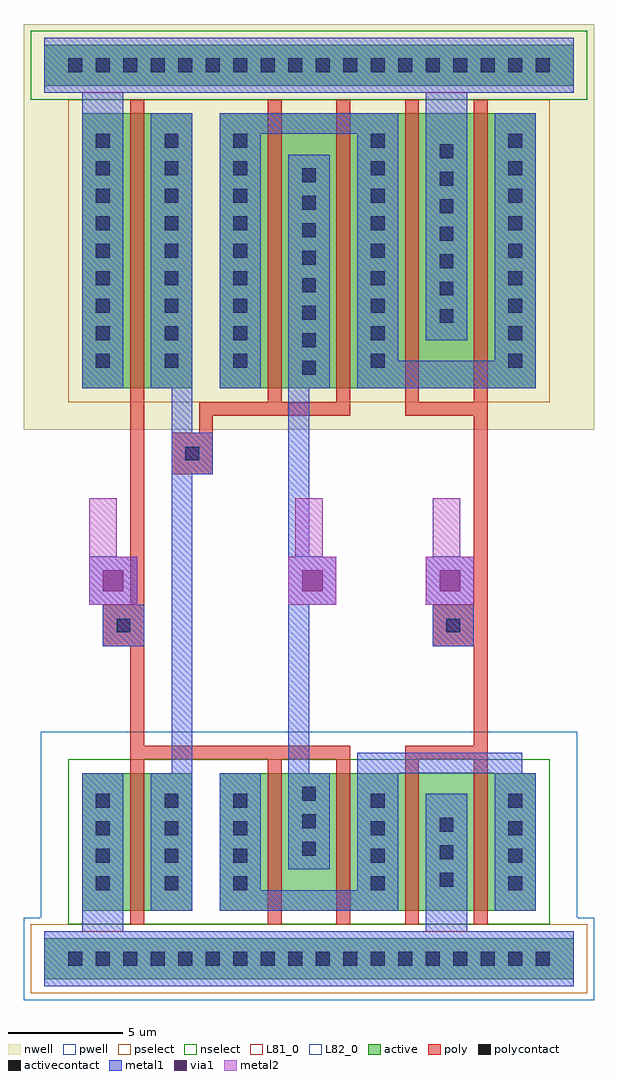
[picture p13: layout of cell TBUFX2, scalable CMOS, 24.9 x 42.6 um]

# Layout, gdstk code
import gdstk
lib = gdstk.Library(unit=1e-6, precision=1e-09)
def R(c, l, rs):  # rectangles x0, y0, x1, y1
    for r in rs: c.add(gdstk.rectangle(r[:2], r[2:], *l))
def A(c, l, x, y, w, h, nx, ny, dx, dy):  # array of equal rectangles
    R(c, l, [(x+i*dx, y+j*dy, x+i*dx+w, y+j*dy+h) for i in range(nx) for j in range(ny)])
pwell = (41, 0)
nwell = (42, 0)
active = (43, 0)
pselect = (44, 0)
nselect = (45, 0)
poly = (46, 0)
polycontact = (47, 0)
activecontact = (48, 0)
metal1 = (49, 0)
via1 = (50, 0)
metal2 = (51, 0)
L81_0 = (81, 0)
L82_0 = (82, 0)

tbufx2 = lib.new_cell('TBUFX2')
R(tbufx2, pwell, [(-1.95,-1.8,22.95,1.8), (-1.2,1.8,22.2,9.9)])
R(tbufx2, nwell, [(-1.95,23.1,22.95,40.8)])
R(tbufx2, active, [(-1.05,-0.9,22.05,0.9), (0.6,2.1,5.4,8.1), (6.6,2.1,20.4,8.1), (0.6,24.9,5.4,36.9), (6.6,24.9,20.4,36.9), (-1.05,38.1,22.05,39.9)])
R(tbufx2, pselect, [(-1.65,-1.5,22.65,1.5), (0,24.3,21,37.5)])
R(tbufx2, nselect, [(0,1.5,21,8.7), (-1.65,37.5,22.65,40.5)])
A(tbufx2, poly, 8.7, 1.5, 0.6, 7.2, 4, 1, 3, 0)
A(tbufx2, poly, 8.7, 24.3, 0.6, 13.2, 4, 1, 3, 0)
R(tbufx2, poly, [(2.7,1.5,3.3,8.7), (2.7,8.7,12.3,9.3), (14.7,8.7,18.3,9.3), (2.7,9.3,3.3,13.65), (17.7,9.3,18.3,13.65), (1.5,13.65,3.3,15.45), (15.9,13.65,18.3,15.45), (2.7,15.45,3.3,37.5), (17.7,15.45,18.3,23.7), (4.5,21.15,6.3,22.95), (5.7,22.95,6.3,23.7), (5.7,23.7,12.3,24.3), (14.7,23.7,18.3,24.3)])
R(tbufx2, polycontact, [(2.1,14.25,2.7,14.85), (16.5,14.25,17.1,14.85), (5.1,21.75,5.7,22.35)])
A(tbufx2, activecontact, 0, -0.3, 0.6, 0.6, 18, 2, 1.2, 39)
A(tbufx2, activecontact, 1.2, 3, 0.6, 0.6, 3, 4, 3, 1.2)
A(tbufx2, activecontact, 13.2, 3, 0.6, 0.6, 1, 4, 0, 1.2)
A(tbufx2, activecontact, 19.2, 3, 0.6, 0.6, 1, 4, 0, 1.2)
A(tbufx2, activecontact, 16.2, 3.15, 0.6, 0.6, 1, 3, 0, 1.2)
A(tbufx2, activecontact, 10.2, 4.5, 0.6, 0.6, 1, 3, 0, 1.2)
A(tbufx2, activecontact, 10.2, 25.5, 0.6, 0.6, 1, 8, 0, 1.2)
A(tbufx2, activecontact, 1.2, 25.8, 0.6, 0.6, 3, 9, 3, 1.2)
A(tbufx2, activecontact, 13.2, 25.8, 0.6, 0.6, 1, 9, 0, 1.2)
A(tbufx2, activecontact, 19.2, 25.8, 0.6, 0.6, 1, 9, 0, 1.2)
A(tbufx2, activecontact, 16.2, 27.75, 0.6, 0.6, 1, 7, 0, 1.2)
R(tbufx2, metal1, [(-1.05,-1.2,22.05,1.2), (0.6,1.2,2.4,8.1), (15.6,1.2,17.4,7.2), (3.6,2.1,5.4,8.1), (6.6,2.1,14.4,3), (18.6,2.1,20.4,8.1), (6.6,3,8.4,8.1), (12.6,3,14.4,8.1), (9.6,3.9,11.4,8.1), (4.5,8.1,5.4,21.15), (9.6,8.1,10.5,15.45), (12.6,8.1,19.8,9), (1.5,13.65,3.3,15.45), (15.9,13.65,17.7,15.45), (0.9,15.45,3,17.55), (9.6,15.45,11.7,17.55), (15.6,15.45,17.7,17.55), (9.6,17.55,10.5,24.9), (4.5,21.15,6.3,22.95), (4.5,22.95,5.4,24.9), (0.6,24.9,2.4,37.8), (3.6,24.9,5.4,36.9), (6.6,24.9,8.4,36), (9.6,24.9,11.4,35.1), (12.6,24.9,20.4,26.1), (12.6,26.1,14.4,36), (18.6,26.1,20.4,36.9), (15.6,27,17.4,37.8), (6.6,36,14.4,36.9), (-1.05,37.8,22.05,40.2)])
R(tbufx2, via1, [(1.5,16.05,2.4,16.95), (10.2,16.05,11.1,16.95), (16.2,16.05,17.1,16.95)])
R(tbufx2, metal2, [(0.9,15.45,3,17.55), (9.6,15.45,11.7,17.55), (15.6,15.45,17.7,17.55), (0.9,17.55,2.1,20.1), (9.9,17.55,11.1,20.1), (15.9,17.55,17.1,20.1)])
R(tbufx2, L81_0, [(-1.05,-1.2,22.05,1.2), (-1.05,37.8,22.05,40.2)])
R(tbufx2, L82_0, [(0.9,17.55,2.1,20.1), (9.9,17.55,11.1,20.1), (15.9,17.55,17.1,20.1)])

lib.write_gds('TBUFX2.gds')
